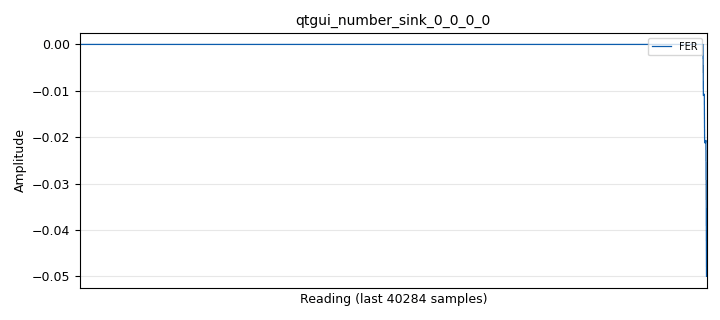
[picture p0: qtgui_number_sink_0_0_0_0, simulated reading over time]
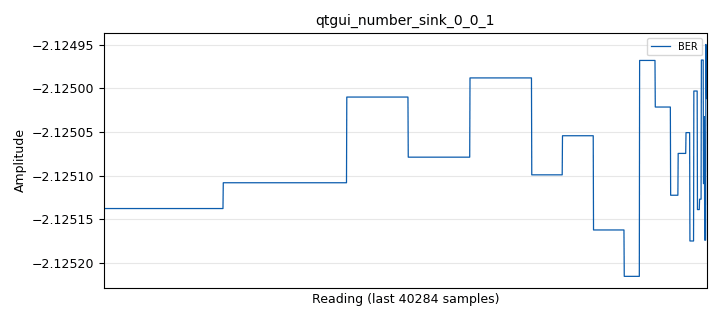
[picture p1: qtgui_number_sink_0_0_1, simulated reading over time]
options:
  parameters:
    generate_options: qt_gui
    id: variant_b_error_rate
    output_language: python
    title: Variant B Error Rate
  states: {}

blocks:
- name: modulation
  id: variable_constellation
  parameters:
    precision: '8'
    type: bpsk
  states: {state: disabled}
- name: modulation
  id: variable_constellation
  parameters:
    precision: '8'
    type: 16qam
  states: {}
- name: reset_button
  id: variable_qtgui_push_button
  parameters:
    label: Reset Button
    pressed: 'True'
    released: 'False'
    type: bool
    value: 'False'
  states: {}
- name: samp_rate
  id: variable
  parameters:
    value: '320000'
  states: {}
- name: test_case
  id: variable_qtgui_chooser
  parameters:
    label: Test Cases BPSK
    label0: 'Test 1: BER_log = SER_log = -2.9 ; FER_log = 0'
    label1: 'Test 2: BER_log = SER_log = -3.9 ; FER_log = -1'
    num_opts: '2'
    option0: '[0]*0+[0]*99+[1]*1'
    option1: '[0]*1000+[0]*99+[1]*1'
    type: raw
    value: '[0]*0+[0]*99+[1]*1'
    widget: radio_buttons
  states: {state: disabled}
- name: test_case
  id: variable_qtgui_chooser
  parameters:
    label: Test Cases 16 QAM
    label0: 'Test 1: BER_log = -2.9 ; SER_log = -2.3 ; FER_log = 0'
    label1: 'Test 2: BER_log = -3.94 ; SER_log = -3.34 ; FER_log = -1'
    num_opts: '2'
    option0: '[0]*0+[0]*99+[1]*1'
    option1: '[0]*1000+[0]*99+[1]*1'
    type: raw
    value: '[0]*0+[0]*99+[1]*1'
    widget: radio_buttons
  states: {}
- name: blocks_repack_bits_bb_0_1
  id: blocks_repack_bits_bb
  parameters:
    endianness: gr.GR_LSB_FIRST
    k: '8'
    l: modulation.bits_per_symbol()
    len_tag_key: '"packet_len"'
  states: {}
- name: blocks_stream_to_tagged_stream_0_0
  id: blocks_stream_to_tagged_stream
  parameters:
    len_tag_key: '"packet_len"'
    packet_len: '100'
    type: byte
  states: {}
- name: blocks_throttle2_0
  id: blocks_throttle2
  parameters:
    samples_per_second: samp_rate
    type: byte
  states: {}
- name: blocks_vector_source_x_0
  id: blocks_vector_source_x
  parameters:
    comment: TX Data
    repeat: 'True'
    type: byte
    vector: '[0]*100'
  states: {}
- name: blocks_vector_source_x_0_0
  id: blocks_vector_source_x
  parameters:
    comment: Error Inducement Control
    repeat: 'True'
    type: byte
    vector: test_case
  states: {}
- name: blocks_xor_xx_1
  id: blocks_xor_xx
  parameters:
    type: byte
  states: {}
- name: epy_block_0
  id: epy_block
  parameters:
    _source_code: |-
      import numpy as np
      from gnuradio import gr

      class blk(gr.sync_block):
          def __init__(self, frame_size=1024, bits_per_symbol=4):
              gr.sync_block.__init__(
                  self,
                  name='Error Rate Counter',
                  in_sig=[np.uint8, np.uint8],
                  out_sig=[np.float32, np.float32, np.float32]
              )
              self.frame_size = frame_size
              self.bits_per_symbol = bits_per_symbol

              self.total_bits = 0
              self.bit_errors = 0
              self.total_symbols = 0
              self.symbol_errors = 0
              self.total_frames = 0
              self.frame_errors = 0

          def work(self, input_items, output_items):
              in0 = input_items[0]
              in1 = input_items[1]

              if len(in0) == 0 or len(in1) == 0:
                  return 0

              n = min(len(in0), len(in1))
              in0 = in0[:n]
              in1 = in1[:n]

              # Vypocet FER
              byte_errors = np.sum(in0 != in1)
              self.total_frames += 1
              if byte_errors > 0:
                  self.frame_errors += 1

              # Vypocet BER (rozbalenie bajtov na bity)
              bits0 = np.unpackbits(in0)
              bits1 = np.unpackbits(in1)
              self.bit_errors += np.sum(bits0 != bits1)
              self.total_bits += len(bits0)

              # Vypocet SER pre 16-QAM (1 bajt = 2 symboly po 4 bitoch)
              sym0_h = (in0 >> 4) & 0x0F
              sym0_l = in0 & 0x0F
              sym1_h = (in1 >> 4) & 0x0F
              sym1_l = in1 & 0x0F
              self.symbol_errors += np.sum(sym0_h != sym1_h) + np.sum(sym0_l != sym1_l)
              self.total_symbols += n * 2

              # Vypocet logaritmov (s poistkou -10 proti padnutiu pri nule)
              ber = self.bit_errors / self.total_bits if self.total_bits > 0 else 0
              ser = self.symbol_errors / self.total_symbols if self.total_symbols > 0 else 0
              fer = self.frame_errors / self.total_frames if self.total_frames > 0 else 0

              ber_log = np.log10(ber) if ber > 0 else -10.0
              ser_log = np.log10(ser) if ser > 0 else -10.0
              fer_log = np.log10(fer) if fer > 0 else -10.0

              # Zapis na vystupy
              output_items[0][:] = ser_log
              output_items[1][:] = ber_log
              output_items[2][:] = fer_log

              return n
    bits_per_symbol: '4'
    frame_size: '100'
  states: {}
- name: qtgui_number_sink_0_0_0_0
  id: qtgui_number_sink
  parameters:
    graph_type: qtgui.NUM_GRAPH_NONE
    label1: FER
    name: ''
    type: float
  states: {}
- name: qtgui_number_sink_0_0_1
  id: qtgui_number_sink
  parameters:
    graph_type: qtgui.NUM_GRAPH_NONE
    label1: BER
    name: ''
    type: float
  states: {}
- name: qtgui_number_sink_3_0
  id: qtgui_number_sink
  parameters:
    graph_type: qtgui.NUM_GRAPH_NONE
    label1: SER
    type: float
  states: {}
- name: virtual_sink_0
  id: virtual_sink
  parameters:
    stream_id: TX Data
  states: {}

connections:
- [blocks_repack_bits_bb_0_1, '0', epy_block_0, '0']
- [blocks_stream_to_tagged_stream_0_0, '0', blocks_repack_bits_bb_0_1, '0']
- [blocks_stream_to_tagged_stream_0_0, '0', epy_block_0, '1']
- [blocks_throttle2_0, '0', blocks_stream_to_tagged_stream_0_0, '0']
- [blocks_vector_source_x_0, '0', blocks_xor_xx_1, '0']
- [blocks_vector_source_x_0, '0', virtual_sink_0, '0']
- [blocks_vector_source_x_0_0, '0', blocks_xor_xx_1, '1']
- [blocks_xor_xx_1, '0', blocks_throttle2_0, '0']
- [epy_block_0, '0', qtgui_number_sink_0_0_1, '0']
- [epy_block_0, '1', qtgui_number_sink_3_0, '0']
- [epy_block_0, '2', qtgui_number_sink_0_0_0_0, '0']

metadata:
  file_format: 1
  grc_version: 3.10.12.0
